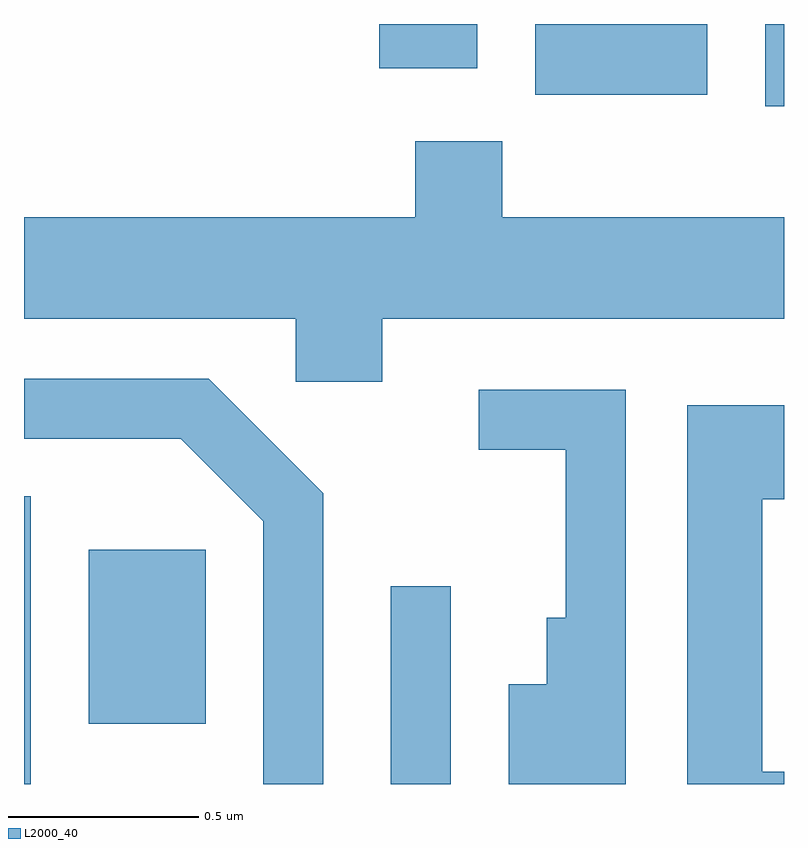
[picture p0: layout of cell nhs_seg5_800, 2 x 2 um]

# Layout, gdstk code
import gdstk
lib = gdstk.Library(unit=1e-6, precision=1e-09)
def R(c, l, rs):  # rectangles x0, y0, x1, y1
    for r in rs: c.add(gdstk.rectangle(r[:2], r[2:], *l))
def P(c, l, *ps):  # polygons
    for p in ps: c.add(gdstk.Polygon(p, *l))
L2000_40 = (2000, 40)

nhs_seg5_800 = lib.new_cell('nhs_seg5_800')
R(nhs_seg5_800, L2000_40, [(190.611,1511.072,190.629,1511.829), (191.576,1511.072,191.734,1511.593), (190.781,1511.231,191.089,1511.689), (192.561,1512.856,192.611,1513.072), (191.956,1512.886,192.409,1513.072), (191.546,1512.956,191.804,1513.072), (190.846,1513.071,191.104,1513.072)])
P(nhs_seg5_800, L2000_40, [(191.554,1512.296),(192.611,1512.296),(192.611,1512.564),(191.869,1512.564),(191.869,1512.764),(191.641,1512.764),(191.641,1512.564),(190.611,1512.564),(190.611,1512.296),(191.326,1512.296),(191.326,1512.131),(191.554,1512.131)],
  [(191.399,1511.837),(191.097,1512.139),(190.611,1512.139),(190.611,1511.981),(191.024,1511.981),(191.241,1511.764),(191.241,1511.072),(191.399,1511.072)],
  [(192.194,1512.109),(191.808,1512.109),(191.808,1511.951),(192.036,1511.951),(192.036,1511.509),(191.986,1511.509),(191.986,1511.334),(191.886,1511.334),(191.886,1511.072),(192.194,1511.072)],
  [(192.611,1511.104),(192.554,1511.104),(192.554,1511.821),(192.611,1511.821),(192.611,1512.069),(192.356,1512.069),(192.356,1511.072),(192.611,1511.072)])

lib.write_gds('nhs_seg5_800.gds')
